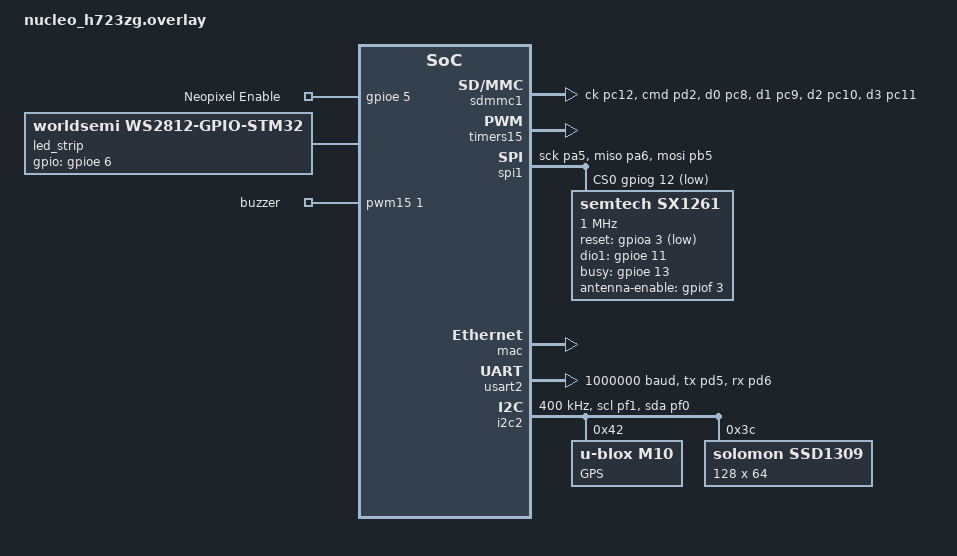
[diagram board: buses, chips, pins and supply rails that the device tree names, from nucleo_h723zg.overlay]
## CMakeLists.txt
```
cmake_minimum_required(VERSION 3.20.0)
set(BOARD nucleo_h723zg)
set(BOARD_FLASH_RUNNER openocd)
set(BOARD_DEBUG_RUNNER openocd)
include(${CMAKE_CURRENT_SOURCE_DIR}/../../cmake/include_custom_modules.cmake)
find_package(Zephyr REQUIRED HINTS $ENV{ZEPHYR_BASE})
project(Demo)
# ============ FONT GENERATION ============
set(gen_dir ${CMAKE_BINARY_DIR}/include/generated/)
find_package(Python3 REQUIRED COMPONENTS Interpreter)
add_custom_command(
    OUTPUT ${gen_dir}/cfb_font_templeos.h
    COMMAND 
        ${Python3_EXECUTABLE} 
        ${ZEPHYR_BASE}/scripts/build/gen_cfb_font_header.py
        --zephyr-base ${ZEPHYR_BASE}
        --input ${CMAKE_SOURCE_DIR}/fonts/templeos.otf
        --output ${gen_dir}/cfb_font_templeos.h
        --width 8
        --height 8
        -s 8
    DEPENDS ${CMAKE_SOURCE_DIR}/fonts/templeos.otf
    COMMENT "Generating CFB font header from templeos.otf"
)
add_custom_target(generate_cfb_font DEPENDS ${gen_dir}/cfb_font_templeos.h)
add_dependencies(app generate_cfb_font)
# ============ KEY FIX: Add include path for generated headers ============
set(
    OBELICS_MAVLINK_INCLUDE_DIR
    ${CMAKE_CURRENT_SOURCE_DIR}/mavlink/generated/c
)
zephyr_system_include_directories(${OBELICS_MAVLINK_INCLUDE_DIR})
target_include_directories(app PRIVATE ${gen_dir})
target_sources(app PRIVATE
    src/main.c
)
```

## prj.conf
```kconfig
# Debug
CONFIG_DEBUG=y
CONFIG_FAULT_DUMP=2
CONFIG_EXTRA_EXCEPTION_INFO=y
CONFIG_CPU_LOAD=y
CONFIG_EARLY_CONSOLE=y
CONFIG_BOOT_BANNER=y
CONFIG_CLOCK_CONTROL_LOG_LEVEL_DBG=y
CONFIG_LOG=y
CONFIG_LOG_BACKEND_UART=y
CONFIG_LOG_DEFAULT_LEVEL=3
CONFIG_TRACING=y

# MPU stack protection is already enabled by the board.
CONFIG_STACK_SENTINEL=n
CONFIG_STACK_CANARIES=y

# CONFIG_THREAD_ANALYZER=y
# CONFIG_THREAD_ANALYZER_AUTO=y
# CONFIG_THREAD_ANALYZER_AUTO_INTERVAL=5
# CONFIG_THREAD_ANALYZER_USE_LOG=y


CONFIG_HEAP_MEM_POOL_SIZE=4096
CONFIG_MAIN_STACK_SIZE=4096
CONFIG_SYSTEM_WORKQUEUE_STACK_SIZE=4096
CONFIG_LOG_PROCESS_THREAD_STACK_SIZE=4096

# CONFIG_THREAD_RUNTIME_STATS=y
# CONFIG_WORKQUEUE_WORK_TIMEOUT=y

# Interfaces
CONFIG_GPIO=y
CONFIG_CONSOLE=y
CONFIG_SERIAL=y
CONFIG_UART_CONSOLE=y
CONFIG_SPI=y
CONFIG_I2C=y
CONFIG_PRINTK=y
CONFIG_EVENTS=y
CONFIG_UART_ASYNC_API=y

# SERVO
CONFIG_SERVO=y


#DMA
CONFIG_DMA=y
CONFIG_DCACHE=n
CONFIG_DMA_STM32=y
CONFIG_SPI_STM32_DMA=y


# I2C
CONFIG_I2C_STM32=y
CONFIG_I2C_STM32_V2_DMA=n

# PWM
CONFIG_PWM=y
CONFIG_PWM_STM32=y

## Sensor API
# The demo does not use the asynchronous sensor API.
CONFIG_SENSOR_ASYNC_API=n

# LED strip support
CONFIG_LED_STRIP=y
CONFIG_WS2812_GPIO_STM32=y

# LoRa
CONFIG_LORA=y
CONFIG_LORA_INIT_PRIORITY=90
CONFIG_LORA_SX126X=y
CONFIG_LORA_MODULE_BACKEND_LORAMAC_NODE=y

# SD card support
CONFIG_FILE_SYSTEM=y
CONFIG_FILE_SYSTEM_LIB_LINK=y
CONFIG_DISK_ACCESS=y
CONFIG_SDMMC_STM32_CLOCK_CHECK=n
CONFIG_DISK_DRIVER_SDMMC=y
CONFIG_SDMMC_STM32=y
CONFIG_FAT_FILESYSTEM_ELM=y
CONFIG_MAIN_STACK_SIZE=4096
# Increase main stack size to accommodate file system operations

# Networking
CONFIG_NETWORKING=y
CONFIG_NET_L2_ETHERNET=y
CONFIG_NET_IPV4=y
CONFIG_NET_UDP=y
CONFIG_NET_SOCKETS=y
CONFIG_POSIX_API=y
CONFIG_ZVFS_POLL_MAX=10

CONFIG_NET_CONFIG_SETTINGS=y
CONFIG_NET_CONFIG_NEED_IPV4=y
CONFIG_NET_CONFIG_MY_IPV4_ADDR="192.168.10.2"
CONFIG_NET_CONFIG_MY_IPV4_NETMASK="255.255.255.0"
CONFIG_NET_CONFIG_MY_IPV4_GW="192.168.10.1"


# Demo
CONFIG_LIB_DEMO=y
CONFIG_LIB_DEMO_MAVLINK=y

# Legacy text-only UDP test is replaced by MAVLink UDP.
CONFIG_UDP_CLIENT=n

# Display module
CONFIG_LIB_DISPLAY=y

# Encoder input
CONFIG_ENCODER_INPUT=y

# Menu system
CONFIG_LIB_MENU=y
CONFIG_LIB_MENU_STACK_SIZE=2048
CONFIG_LIB_MENU_PRIORITY=10
CONFIG_LIB_MENU_MIN_REDRAW_MS=200

# Kernel poll API (required for menu)
CONFIG_POLL=y


# GNSS (M10)
CONFIG_GNSS=y
CONFIG_GNSS_U_BLOX_M10=y
# CONFIG_GNSS_LOG_LEVEL_WRN=y


# OLED display
CONFIG_DISPLAY=y
CONFIG_SSD1306=y
CONFIG_SSD1306_DEFAULT_CONTRAST=128
#Max brightness. Adjust as needed.

## Character framebuffer for display
CONFIG_CHARACTER_FRAMEBUFFER=y
CONFIG_CHARACTER_FRAMEBUFFER_USE_DEFAULT_FONTS=y

#MavLink
CONFIG_MAVWRAP=y
CONFIG_SERIAL=y
CONFIG_MAVWRAP_TRANSPORT_UART=y
CONFIG_MAVWRAP_DIALECT_COMMON=y
CONFIG_MAVWRAP_DIALECT_CUSTOM=n
CONFIG_MAVWRAP_DIALECT_NAME="common"
CONFIG_MAVWRAP_TRANSPORT_NETIF=y
CONFIG_MAVWRAP_RX_STACK_SIZE=4096

#Encoder input log level
CONFIG_ENCODER_INPUT_LOG_LEVEL=1
# Logger
CONFIG_FILE_LOGGER=y
```

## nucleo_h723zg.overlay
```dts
#include <zephyr/dt-bindings/led/led.h>
#include <zephyr/dt-bindings/pwm/pwm.h>
#include <zephyr/dt-bindings/clock/stm32h7_clock.h>




/ {
    mavlink_idefix: mavlink-idefix {
        compatible = "mavlink-wrapper";
        status = "okay";
        transport = <&mac>;
        net-interface;
        net-type = "udp";
        local-ip = "192.168.10.2";
        local-port = <14550>;
        remote-ip = "192.168.10.1";
        remote-port = <14551>;
    };

    chosen {
        zephyr,display = &ssd1309;
    };
    
    rotary_encoder: rotary_encoder {
        compatible = "panoramix,rotary-encoder";   /* custom, no driver binds to this */
        encoder_s: encoder_switch {
            gpios = <&gpiog 0 (GPIO_PULL_UP | GPIO_ACTIVE_LOW)>;
            label = "Encoder Switch";
        };
        encoder_a: encoder_a {
            gpios = <&gpiod 0 (GPIO_PULL_UP | GPIO_ACTIVE_HIGH)>;
            label = "Encoder Phase A";
        };
        encoder_b: encoder_b {
            gpios = <&gpiod 1 (GPIO_PULL_UP | GPIO_ACTIVE_HIGH)>;
            label = "Encoder Phase B";
        };
    };

    neopixel_enable: neopixel-enable {
        compatible = "gpio-keys";
        neopixel_en: neopixel_en {
            gpios = <&gpioe 5 GPIO_ACTIVE_HIGH>;
            label = "Neopixel Enable";
        };
    };

    led_strip: ws2812 {
        status = "okay";
        
        compatible = "worldsemi,ws2812-gpio-stm32";
        gpios = <&gpioe 6 GPIO_ACTIVE_HIGH>;
        chain-length = <4>;
        cpu-mhz = <550>;
        color-mapping = [ 01 02 03 ];
    };

	pwmdevices: pwmdevices {
		compatible = "pwm-leds";
		status = "okay";

		buzzer: buzzer {
			pwms = <&pwm15 1 250000
				(PWM_POLARITY_INVERTED | STM32_PWM_COMPLEMENTARY)>;
		};
	};

};

/* Clocks for SD */
/* Using default PLL1_Q (137.5MHz) with internal SDMMC divider = 3 gives ~45.8MHz */
/* Using interrupt mode (no DMA) to avoid MPU faults */
&sdmmc1 {
    disk-name = "SD";
    status = "okay";

    clk-div = <3>;  /* 137.5MHz / 3 = ~45.8MHz (within SD spec) */
    /delete-property/ dmas;  /* Use interrupt mode instead of DMA */
    pinctrl-0 = <&sdmmc1_ck_pc12 &sdmmc1_cmd_pd2 &sdmmc1_d0_pc8 &sdmmc1_d1_pc9 &sdmmc1_d2_pc10 &sdmmc1_d3_pc11>;
    pinctrl-names = "default";
};

/* Clocks for WS2812B */
&timers15 {
    status = "okay";
    st,prescaler = <31>;

    pwm15: pwm {
        status = "okay";
        pinctrl-0 = <&tim15_ch1n_pe4>;
        pinctrl-names = "default";
    };
};

/* DMA - disabled for now, I2C DMA not working on STM32H723 */
&dma1 {
    status = "okay";
};

&dmamux1 {
    status = "okay";
};


/**********************************************/
/*              Obelics LoRa                  */
/**********************************************/

&spi1 {
    status = "okay";
    pinctrl-names = "default";

    pinctrl-0 = <&spi1_sck_pa5 &spi1_miso_pa6 &spi1_mosi_pb5>;
    cs-gpios = <&gpiog 12 (GPIO_ACTIVE_LOW)>;

    lora_sx1261: lora@0 {
        status = "okay";
        compatible = "semtech,sx1261";
        reg = <0>;
        spi-max-frequency = <1000000>;
        label = "SX1261";

        reset-gpios = <&gpioa 3 (GPIO_ACTIVE_LOW | GPIO_PULL_UP)>;
        dio1-gpios = <&gpioe 11 (GPIO_PULL_DOWN | GPIO_ACTIVE_HIGH)>;
        busy-gpios = <&gpioe 13 (GPIO_PULL_UP | GPIO_ACTIVE_HIGH)>;
        /* Semtech shield on the Arduino headers: D8 = PF3. */
        antenna-enable-gpios = <&gpiof 3 GPIO_ACTIVE_HIGH>;
        dio2-tx-enable;
        tcxo-power-startup-delay-ms = <5>;
    };
};


/**********************************************/
/*              Ethernet                      */
/**********************************************/

&mac {
    status = "okay";
};

&usart2 {
    status = "okay";

    pinctrl-0 = <&usart2_tx_pd5 &usart2_rx_pd6>;
    pinctrl-names = "default";
    current-speed = <1000000>;

    dmas = <&dmamux1 0 44 (STM32_DMA_PERIPH_TX | STM32_DMA_PRIORITY_HIGH)>, 
            <&dmamux1 1 43 (STM32_DMA_PERIPH_RX | STM32_DMA_PRIORITY_HIGH)>; 
    dma-names = "tx", "rx"; 
    
    yaw_servo: yaw_servo {
        status = "disabled";
        compatible = "waveshare,st3215";
        servo-id = <1>;
    };

    pitch_servo: pitch_servo {
        status = "disabled";
        compatible = "waveshare,st3215";
        servo-id = <2>;
    };
};


/**********************************************/
/*              GNSS (M10)                   */
/**********************************************/

&i2c2 {
    status = "okay";
    pinctrl-0 = <&i2c2_scl_pf1 &i2c2_sda_pf0>;
    pinctrl-names = "default";

    clock-frequency = <I2C_BITRATE_FAST>; /* 100kHz is too slow for M10, use 400kHz */

    /* dmas = <&dmamux1 0 36 STM32_DMA_PERIPH_TX>,*/
           /*<&dmamux1 1 35 STM32_DMA_PERIPH_RX>;*/

    /*dma-names = "tx", "rx";*/

    gps: gps@42 {
        compatible = "u-blox,m10";
        reg = <0x42>;
        label = "GPS";
    };


    ssd1309: ssd1309@3c {
        compatible = "solomon,ssd1309";
        label = "SSD1309";
        reg = <0x3c>;
        width = <128>;
        height = <64>;
        
        // SSD1309 specific settings (adjust based on panel vendor)
        segment-offset = <0>;
        page-offset = <0>;
        display-offset = <0>;
        multiplex-ratio = <63>;
        //segment-remap;
        //com-invdir;
        prechargep = <0x22>;
    };
};
```

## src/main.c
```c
#include <zephyr/kernel.h>
#include <zephyr/device.h>
#include <zephyr/net/net_if.h>
#include <zephyr/drivers/gpio.h>
#include <zephyr/drivers/pwm.h>
#include <zephyr/sys/util.h>
#include <zephyr/drivers/lora.h>
#include <zephyr/logging/log.h>
#include <zephyr/logging/log_ctrl.h>
#include <zephyr/drivers/display.h>
#include <zephyr/fs/fs.h>
#include <zephyr/storage/disk_access.h>
#include <zephyr/drivers/led_strip.h>
#include <zephyr/display/cfb.h>
#include "sound.h"
#include "gnss_u_blox_m10.h"
#include "display.h"
#include "menu.h"
#include <cfb_font_templeos.h>
#include <zephyr/drivers/i2c.h>
#include "file_logger.h"
#include <stdint.h>
#include <errno.h>
#include <string.h>
#include <zephyr/drivers/servo.h>
#include <zephyr/drivers/uart.h>
#include "demo.h"


LOG_MODULE_REGISTER(main, LOG_LEVEL_INF);

/* ------------------------------------------------------------------ *
 * File logger
 * ------------------------------------------------------------------ */

static struct file_logger_file log_file;

static void init_storage(void)
{
    int ret = file_logger_init();
    if (ret < 0) {
        LOG_ERR("Failed to init file logger: %d", ret);
        return;
    }

    ret = file_logger_open("/SD:/packets.log", FS_O_CREATE | FS_O_READ | FS_O_WRITE | FS_O_APPEND, &log_file);
    if (ret < 0) {
        LOG_ERR("Failed to open log file: %d", ret);
        return;
    }

    LOG_INF("File logger initialized and log file opened");
}

/* ------------------------------------------------------------------ *
 * LoRa
 * ------------------------------------------------------------------ */
#define LORA_NODE DT_NODELABEL(lora_sx1261)
static const struct device *lora_dev = DEVICE_DT_GET(LORA_NODE);
static struct lora_modem_config lora_cfg = {
    .frequency = 868000000,
    .bandwidth = BW_250_KHZ,
    .datarate = SF_8,
    .coding_rate = CR_4_5,
    .preamble_len = 12,
    .tx_power = 14,
    .tx = true,
    .iq_inverted = false,
    .public_network = false,
    .packet_crc_disable = false,
};

/* Keep the existing WL55 firmware and four-byte PING/PONG protocol. */
static struct demo_lora_stats lora_stats = {
    .result = DEMO_LORA_UNAVAILABLE, .rtt_ms = -1, .age_ms = -1,
};
static int64_t lora_last_pong_ms = -1;

static void lora_test_once(void)
{
    uint8_t tx_buf[] = "PING";
    uint8_t rx_buf[256];
    int16_t rssi;
    int8_t snr;
    int ret;
    int64_t sent_at;

    lora_stats.result = DEMO_LORA_ERROR;
    lora_stats.rtt_ms = -1;
    lora_cfg.tx = true;
    ret = lora_config(lora_dev, &lora_cfg);
    if (ret < 0) {
        LOG_ERR("LoRa TX config failed: %d", ret);
        goto update_stats;
    }
    sent_at = k_uptime_get();
    ret = lora_send(lora_dev, tx_buf, sizeof(tx_buf) - 1);
    if (ret < 0) {
        LOG_ERR("LoRa TX failed: %d", ret);
        goto update_stats;
    }
    lora_stats.tx++;
    lora_cfg.tx = false;
    ret = lora_config(lora_dev, &lora_cfg);
    if (ret < 0) {
        LOG_ERR("LoRa RX config failed: %d", ret);
        goto update_stats;
    }
    ret = lora_recv(lora_dev, rx_buf, sizeof(rx_buf) - 1,
                    K_SECONDS(2), &rssi, &snr);
    LOG_INF("LoRa TX #%u: PING", (unsigned int)lora_stats.tx);
    if (ret == -EAGAIN || ret == -ETIMEDOUT) {
        lora_stats.timeouts++;
        lora_stats.result = DEMO_LORA_TIMEOUT;
        LOG_INF("LoRa RX timeout: no reply");
    } else if (ret < 0) {
        LOG_ERR("LoRa RX failed: %d", ret);
    } else {
        lora_stats.rx++;
        if (ret == 4 && memcmp(rx_buf, "PONG", 4) == 0) {
            lora_last_pong_ms = k_uptime_get();
            lora_stats.pong++;
            lora_stats.result = DEMO_LORA_PONG;
            lora_stats.rssi = rssi;
            lora_stats.snr = snr;
            lora_stats.rtt_ms = (int32_t)(lora_last_pong_ms - sent_at);
            LOG_INF("LoRa PING/PONG OK: RSSI %d dBm, SNR %d dB, RTT %d ms",
                    (int)rssi, (int)snr, (int)lora_stats.rtt_ms);
        } else {
            lora_stats.result = DEMO_LORA_UNEXPECTED;
            LOG_WRN("LoRa received %d bytes, expected four bytes PONG", ret);
        }
    }

update_stats:
    if (lora_stats.result == DEMO_LORA_ERROR) {
        lora_stats.errors++;
    }
    /* Keep OLED packet counters; signal metrics refer only to valid PONGs. */
    menu_update_lora_stats(lora_stats.tx, lora_stats.rx,
                          lora_stats.rssi, lora_stats.snr);
}

/* The Ethernet peer may power up after ObelICS. Only start once it is ready.
 * Called from main after demo_init(), never from the LED/radio workqueue.
 */
static void mavlink_try_start(void)
{
    static bool started;
    static bool waiting_logged;
    const struct device *mav_dev =
        DEVICE_DT_GET(DT_NODELABEL(mavlink_idefix));
    const struct device *eth_dev =
        DEVICE_DT_GET(DT_PHANDLE(DT_NODELABEL(mavlink_idefix), transport));
    struct net_if *iface;
    int ret;

    /* Do not allocate another UDP context after a successful start. */
    if (started) {
        return;
    }
    if (!device_is_ready(mav_dev)) {
        LOG_ERR("MAVLink device not ready; cannot start transport");
        return;
    }
    iface = net_if_lookup_by_dev(eth_dev);
    if (!iface) {
        LOG_ERR("MAVLink Ethernet interface not found");
        return;
    }
    /* Skip the wrapper's blocking network wait while Ethernet is down. */
    if (!net_if_is_up(iface)) {
        if (!waiting_logged) {
            LOG_INF("MAVLink waiting for Ethernet; LoRa remains active");
            waiting_logged = true;
        }
        return;
    }
    waiting_logged = false;
    ret = demo_mavlink_init(mav_dev);
    if (ret < 0) {
        LOG_WRN("MAVLink start failed: %d; will retry next cycle", ret);
        return;
    }
    started = true;
    LOG_INF("MAVLink UDP ready: 192.168.10.2:14550 -> 192.168.10.1:14551");
}

/* ------------------------------------------------------------------ *
 * Neopixel
 * ------------------------------------------------------------------ */
#define STRIP_NODE  DT_NODELABEL(led_strip)

static const struct device *strip = DEVICE_DT_GET(STRIP_NODE);
static const struct gpio_dt_spec neopixel_en =
    GPIO_DT_SPEC_GET(DT_NODELABEL(neopixel_en), gpios);

/* ------------------------------------------------------------------ *
 * Servo
 * ------------------------------------------------------------------ */

#if 0 /* Servo devices disabled for the LED/LoRa demo. */
 const struct device *yaw_servo = DEVICE_DT_GET(DT_NODELABEL(yaw_servo));
 const struct device *pitch_servo = DEVICE_DT_GET(DT_NODELABEL(pitch_servo));
#endif

/* ------------------------------------------------------------------ *
 * Buzzer
 * ------------------------------------------------------------------ */

static const struct pwm_dt_spec buzzer = PWM_DT_SPEC_GET(DT_NODELABEL(buzzer));

/* ------------------------------------------------------------------ *
 * Button
 * ------------------------------------------------------------------ */
static const struct gpio_dt_spec user_btn =
    GPIO_DT_SPEC_GET(DT_NODELABEL(user_button), gpios);

static struct gpio_callback btn_cb_data;
static struct k_work button_work;
static uint8_t demo = 0;

void sound_finished_cb(void) {
    LOG_INF("Sound playback finished");
}

static void button_work_handler(struct k_work *work)
{
    ARG_UNUSED(work);
    LOG_INF("Button work: toggling sound demo");
    switch (demo++ % 4) {
    case 0: play_sound(success_sound, success_sound_len, sound_finished_cb); break;
    case 1: play_sound(alert_sound, alert_sound_len, sound_finished_cb); break;
    case 2: play_sound(acknowledge_sound, acknowledge_sound_len, sound_finished_cb); break;
    case 3: play_sound(error_sound, error_sound_len, sound_finished_cb); break;
    }
}

void button_handler(const struct device *dev, struct gpio_callback *cb,
                    uint32_t pins)
{
    k_work_submit(&button_work);
}

/* ------------------------------------------------------------------ *
 * LED blink timers
 * ------------------------------------------------------------------ */
struct led_data {
    struct gpio_dt_spec gpio;
    struct k_timer timer;
    int index;
};

static struct led_data leds[] = {
    { .gpio = GPIO_DT_SPEC_GET(DT_ALIAS(led0), gpios), .index = 0 },
    { .gpio = GPIO_DT_SPEC_GET(DT_ALIAS(led1), gpios), .index = 1 },
    { .gpio = GPIO_DT_SPEC_GET(DT_ALIAS(led2), gpios), .index = 2 }
};

volatile int selected_led = 0;
volatile uint32_t intervals[] = {500, 500, 500};

void led_timer_handler(struct k_timer *timer_id) {
    struct led_data *led = CONTAINER_OF(timer_id, struct led_data, timer);
    gpio_pin_toggle_dt(&led->gpio);
    k_timer_start(&led->timer, K_MSEC(intervals[led->index]), K_NO_WAIT);
}

/* ------------------------------------------------------------------ *
 * Oled Display
 * ------------------------------------------------------------------ */

const struct device *i2c_dev = DEVICE_DT_GET(DT_NODELABEL(i2c2));



/* ------------------------------------------------------------------ *
 * GPS
 * ------------------------------------------------------------------ */

 

/* ------------------------------------------------------------------ *
 * Main
 * ------------------------------------------------------------------ */
int main(void)
{   
     LOG_INF("Starting main()");
    int ret;

    #if 0 /* Preserve the startup test without moving the damaged servos. */
    int32_t angle_mdeg = 0;

    k_sleep(K_MSEC(500));

    LOG_INF("YAW - PING");
    ret = servo_ping(yaw_servo);
    LOG_INF("yaw ping ret=%d", ret);

    k_sleep(K_MSEC(200));

    LOG_INF("PITCH - PING");
    ret = servo_ping(pitch_servo);
    LOG_INF("pitch ping ret=%d", ret);

    k_sleep(K_MSEC(200));

    LOG_INF("YAW - SET - 0");
    ret = servo_set_position(yaw_servo, 0);
    LOG_INF("yaw set ret=%d", ret);

    k_msleep(50);

    LOG_INF("YAW - GET");
    ret = servo_get_position(yaw_servo, &angle_mdeg);
    LOG_INF("yaw get ret=%d pos=%d mdeg", ret, angle_mdeg);

    k_sleep(K_MSEC(500));

    LOG_INF("PITCH - SET - 210");
    ret = servo_set_position(pitch_servo, 210 * 1000);
    LOG_INF("pitch set ret=%d", ret);

    k_msleep(50);

    LOG_INF("PITCH - GET");
    ret = servo_get_position(pitch_servo, &angle_mdeg);
    LOG_INF("pitch get ret=%d pos=%d mdeg", ret, angle_mdeg);

    k_sleep(K_MSEC(500));

    LOG_INF("YAW - SET - 90");
    ret = servo_set_position(yaw_servo, 90 * 1000);
    LOG_INF("yaw set ret=%d", ret);

    k_msleep(50);

    LOG_INF("YAW - GET");
    ret = servo_get_position(yaw_servo, &angle_mdeg);
    LOG_INF("yaw get ret=%d pos=%d mdeg", ret, angle_mdeg);

    uint8_t pitch_status = 0;
    LOG_INF("PITCH - GET - STATUS");
    ret = servo_get_status(pitch_servo, &pitch_status);
    LOG_INF("pitch status ret=%d status=0x%02X", ret, pitch_status);

    k_msleep(500);

    LOG_INF("PITCH - SET - 260");
    ret = servo_set_position(pitch_servo, 260 * 1000);
    LOG_INF("pitch set ret=%d", ret);

    k_msleep(50);

    LOG_INF("PITCH - GET");
    ret = servo_get_position(pitch_servo, &angle_mdeg);
    LOG_INF("pitch get ret=%d pos=%d mdeg", ret, angle_mdeg);
    

    #endif

    if (!device_is_ready(i2c_dev)) {
        LOG_ERR("I2C device not ready");
        return 0;
    }
    // i2c_scan_bus(i2c_dev);


/* Oled Display */
    ret = display_init();
    if (ret < 0) {
        LOG_ERR("Display init failed: %d", ret);
    }
    display_string("test");
    display_update_row(0, "Starting");

    // cfb_framebuffer_finalize(disp);


    // uint8_t width, height;
    // uint8_t num_fonts = cfb_get_numof_fonts(disp);

    // // Loop through available fonts to get their dimensions
    // for (uint8_t i = 0; i < num_fonts; i++) {
    //     cfb_get_font_size(disp, i, &width, &height);
    //     // printk("Font Index %d: %dx%d pixels\n", i, width, height);
    //     cfb_framebuffer_set_font(disp, i);
    //     display_string("Font %d: %dx%d", i, width, height);
    //     k_sleep(K_SECONDS(2));
    // }

    // cfb_framebuffer_set_font(disp, 0);

    #ifdef CONFIG_FAT_FILESYSTEM_ELM
    /* Initialize file logger */
    init_storage();

    /* Write test message to log file */
    ret = file_logger_write_str(&log_file, "Start\n");
    if (ret < 0) {
        LOG_ERR("Failed to write to log file: %d", ret);
    } else {
        file_logger_flush(&log_file);
        LOG_DBG("Wrote test to log file"); 
    }

    /* Read back to verify */
    file_logger_seek(&log_file, 0, FS_SEEK_SET);
    char read_buff[64];
    int len = file_logger_read_str(&log_file, read_buff, sizeof(read_buff));
    LOG_INF("Log file content (%d bytes): %s", len, read_buff);

    /* Clear log file content by removing and recreating it */
    file_logger_close(&log_file);
    file_logger_remove("/SD:/packets.log");
    file_logger_open("/SD:/packets.log", FS_O_CREATE | FS_O_READ | FS_O_WRITE | FS_O_APPEND, &log_file);
    #endif

    /* A ready device is not yet proof of a working radio link. */
    bool lora_ok = false;
    if (!device_is_ready(lora_dev)) {
        LOG_ERR("LoRa device not ready");
        display_update_row(1, "LoRa not ready");
    } else {
        ret = lora_config(lora_dev, &lora_cfg);
        if (ret < 0) {
            LOG_ERR("LoRa config failed: %d", ret);
            display_update_row(1, "LoRa cfg error");
        } else {
            lora_ok = true;
            LOG_INF("LoRa configured: 868 MHz, BW250, SF8, CR4/5");
            display_update_row(1, "LoRa configured");
        }
    }

    /* Neopixel enable */
    gpio_pin_configure_dt(&neopixel_en, GPIO_OUTPUT_ACTIVE);
    gpio_pin_set_dt(&neopixel_en, 1);

    if (!device_is_ready(strip)) {
        LOG_ERR("LED strip device not ready");
        return -ENODEV;
    }


    if (!device_is_ready(buzzer.dev)) {
        LOG_ERR("Buzzer PWM not ready");
        return -ENODEV;
    }
    k_work_init(&button_work, button_work_handler);
    LOG_INF("Buzzer pointer %p", (void *)&buzzer);
    sound_init(&buzzer);

    
    /* LEDs */
    for (int i = 0; i < ARRAY_SIZE(leds); i++) {
        if (!gpio_is_ready_dt(&leds[i].gpio)) {
            LOG_ERR("LED %d not ready", i);
            return 0;
        }
        gpio_pin_configure_dt(&leds[i].gpio, GPIO_OUTPUT_ACTIVE);
        k_timer_init(&leds[i].timer, led_timer_handler, NULL);
        k_timer_start(&leds[i].timer, K_MSEC(intervals[i]), K_NO_WAIT);
    }

    display_update_row(2, "LED,Sound OK");


    /* B1 User button */
    if (!gpio_is_ready_dt(&user_btn)) {
        LOG_ERR("User button not ready");
        return 0;
    }
    gpio_pin_configure_dt(&user_btn, GPIO_INPUT);

    ret = gpio_pin_interrupt_configure_dt(&user_btn, GPIO_INT_EDGE_FALLING);

    gpio_init_callback(&btn_cb_data, button_handler, BIT(user_btn.pin));
    ret = gpio_add_callback(user_btn.port, &btn_cb_data);

    display_update_row(3, "Buttons OK");

    /* MAVLink UDP starts after demo_init(), below. */


    struct gps_position pos;
    if (gps_get_latest(&pos) == 0) {
        LOG_INF("GPS: %s data \n\t\t %d sats\n\t\t %d fix type  ",pos.valid ? "Valid" : "Invalid", pos.satellites, pos.fix_type);
        display_update_row(6, "GPS: %d sats", pos.satellites);
    } else {
        display_update_row(6, "GPS: No fix");
    }



    

    LOG_INF("Starting main loop...");
    // display_string("Main loop");
    display_update_row(5, "Init complete");
    k_sleep(K_MSEC(1000));

    display_clear_text();

    menu_init();

    menu_start();

    ret = demo_init();
    if (ret < 0) {
        LOG_ERR("Demo init failed: %d", ret);
        return ret;
    }

    while (1) {
        int64_t cycle_start = k_uptime_get();

        /* demo_init() above must finish before enabling command callbacks. */
        mavlink_try_start();

        lora_stats.sequence++;
        if (lora_ok) {
            lora_test_once();
        }
        lora_stats.age_ms = lora_last_pong_ms < 0 ? -1 :
            (int32_t)MIN(k_uptime_get() - lora_last_pong_ms, INT32_MAX);
        demo_mavlink_publish_lora(&lora_stats);

        /* The demo module exclusively controls the LED strip, including OFF. */

        // LOG_DBG("GPS: %02d/%02d/%04d %02d:%02d:%02d.%03u | "
        //                             "lat=%d, lon=%d, alt=%dmm | "
        //                             "sats=%d, fix=%d, hdop=%d | "
        //                             "speed=%dmm/s, heading=%d.%05d | "
        //                             "acc: horiz=%umm, vert=%umm",
        //                             pos.day, pos.month, pos.year,
        //                             pos.hour, pos.minute, pos.second, pos.nanosecond / 1000000,
        //                             pos.latitude, pos.longitude, pos.altitude_mm,
        //                             pos.satellites, pos.fix_type, pos.hdop,
        //                             pos.speed_mm_s, pos.heading_1e5 / 100000, pos.heading_1e5 % 100000,
        //                             pos.horiz_acc_mm, pos.vert_acc_mm);

        ret = gps_get_latest(&pos);
        if (ret == 0 && pos.valid) {
          menu_update_gps(true, pos.satellites, pos.fix_type, pos.latitude, pos.longitude, pos.altitude_mm);
            // display_update_row(0, "%d sats fix=%d", pos.satellites, pos.fix_type);
            // display_update_row(1, "lat%d", pos.latitude);
            // display_update_row(2,"lon%d", pos.longitude);
            // display_update_row(3,"alt%d", (int)(pos.altitude_mm/1000));
            // display_update_row(4,"h:%d v:%d", (int)(pos.horiz_acc_mm), (int)(pos.vert_acc_mm));   
            // display_update_row(5, "%02d:%02d:%02d", pos.hour, pos.minute, pos.second);
        } else {
            // display_update_row(0, "GPS: No fix");
        }
        /* Keep at least five seconds between test starts, including errors. */
        int64_t remaining_ms = 5000 - (k_uptime_get() - cycle_start);
        k_msleep(remaining_ms > 0 ? (int32_t)remaining_ms : 1);
    }
    return 0;
}


void k_sys_fatal_error_handler(unsigned int reason,
                               const struct arch_esf *esf) {
  const struct gpio_dt_spec error_led =
      GPIO_DT_SPEC_GET(DT_ALIAS(led0), gpios);

  LOG_PANIC();

  while (1) {
    display_string("FATAL ERROR");
    LOG_ERR("I'M PANICKING");
    gpio_pin_toggle_dt(&error_led);
    k_busy_wait(500 * 1000);
  }

  k_fatal_halt(reason);
}
```
